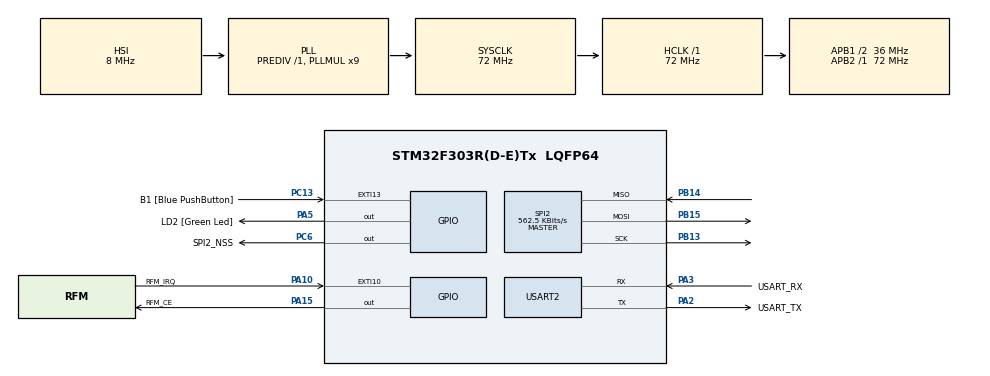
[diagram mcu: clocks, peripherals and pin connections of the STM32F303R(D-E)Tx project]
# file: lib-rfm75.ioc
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Mcu.Family=STM32F3
Mcu.Name=STM32F303R(D-E)Tx
Mcu.Package=LQFP64
NVIC.EXTI15_10_IRQn=true\:0\:0\:false\:false\:true\:true\:true\:true
NVIC.PriorityGroup=NVIC_PRIORITYGROUP_0
PA10.GPIO_Label=RFM_IRQ
PA10.GPIO_ModeDefaultEXTI=GPIO_MODE_IT_FALLING
PA10.Signal=GPXTI10
PA13.GPIO_Label=TMS
PA13.Mode=Serial_Wire
PA13.Signal=SYS_JTMS-SWDIO
PA14.GPIO_Label=TCK
PA14.Mode=Serial_Wire
PA14.Signal=SYS_JTCK-SWCLK
PA15.GPIO_Label=RFM_CE
PA15.Signal=GPIO_Output
PA2.GPIO_Label=USART_TX
PA2.GPIO_Mode=GPIO_MODE_AF_PP
PA2.GPIO_PuPd=GPIO_NOPULL
PA2.GPIO_Speed=GPIO_SPEED_FREQ_LOW
PA2.Mode=Asynchronous
PA2.Signal=USART2_TX
PA3.GPIO_Label=USART_RX
PA3.GPIO_Mode=GPIO_MODE_AF_PP
PA3.GPIO_PuPd=GPIO_NOPULL
PA3.GPIO_Speed=GPIO_SPEED_FREQ_LOW
PA3.Mode=Asynchronous
PA3.Signal=USART2_RX
PA5.GPIO_Label=LD2 [Green Led]
PA5.GPIO_Mode=GPIO_MODE_OUTPUT_PP
PA5.GPIO_PuPd=GPIO_NOPULL
PA5.GPIO_Speed=GPIO_SPEED_FREQ_LOW
PA5.Signal=GPIO_Output
PB13.Mode=Full_Duplex_Master
PB13.Signal=SPI2_SCK
PB14.Mode=Full_Duplex_Master
PB14.Signal=SPI2_MISO
PB15.Mode=Full_Duplex_Master
PB15.Signal=SPI2_MOSI
PB3.GPIO_Label=SWO
PB3.Signal=SYS_JTDO-TRACESWO
PC13.GPIO_Label=B1 [Blue PushButton]
PC13.GPIO_ModeDefaultEXTI=GPIO_MODE_IT_FALLING
PC13.Signal=GPXTI13
PC14-OSC32_IN.Mode=LSE-External-Oscillator
PC14-OSC32_IN.Signal=RCC_OSC32_IN
PC15-OSC32_OUT.Mode=LSE-External-Oscillator
PC15-OSC32_OUT.Signal=RCC_OSC32_OUT
PC6.GPIO_Label=SPI2_NSS
PC6.Signal=GPIO_Output
PF0-OSC_IN.Mode=HSE-External-Clock-Source
PF0-OSC_IN.Signal=RCC_OSC_IN
PF1-OSC_OUT.Signal=RCC_OSC_OUT
ProjectManager.HeapSize=0x200
ProjectManager.StackSize=0x400
ProjectManager.TargetToolchain=STM32CubeIDE
RCC.AHBFreq_Value=72000000
RCC.APB1CLKDivider=RCC_HCLK_DIV2
RCC.APB1Freq_Value=36000000
RCC.APB1TimFreq_Value=72000000
RCC.APB2Freq_Value=72000000
RCC.APB2TimFreq_Value=72000000
RCC.CortexFreq_Value=72000000
RCC.HCLKFreq_Value=72000000
RCC.HSE_VALUE=8000000
RCC.HSI_VALUE=8000000
RCC.PLLM=8
RCC.PLLMUL=RCC_PLL_MUL9
RCC.PLLN=336
RCC.PLLP=RCC_PLLP_DIV4
RCC.PLLQ=7
RCC.RCC_PLLsource_Clock_Source_FROM_HSE=RCC_HSE_PREDIV_DIV2
RCC.SYSCLKFreq_VALUE=72000000
RCC.SYSCLKSourceVirtual=RCC_SYSCLKSOURCE_PLLCLK
RCC.USBFreq_Value=72000000
SPI2.BaudRatePrescaler=SPI_BAUDRATEPRESCALER_64
SPI2.CalculateBaudRate=562.5 KBits/s
SPI2.DataSize=SPI_DATASIZE_8BIT
SPI2.Direction=SPI_DIRECTION_2LINES
SPI2.Mode=SPI_MODE_MASTER
SPI2.VirtualType=VM_MASTER
USART2.VirtualMode-Asynchronous=VM_ASYNC
board=NUCLEO-F303RE

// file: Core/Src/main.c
/* USER CODE BEGIN Header */
/**
  ******************************************************************************
  * @file           : main.c
  * @brief          : Main program body
  ******************************************************************************
  * @attention
  *
  * Copyright (c) 2022 STMicroelectronics.
  * All rights reserved.
  *
  * This software is licensed under terms that can be found in the LICENSE file
  * in the root directory of this software component.
  * If no LICENSE file comes with this software, it is provided AS-IS.
  *
  ******************************************************************************
  *
  *		Name:	STM32 library for GFSK transceiver - RFM75-S
  *	  Author:	crlhz
  *	  	Date: 	2023-04-08
  *
  *	  github:	https://github.com/crlhz
  *	 contact:	crlhz@proton.me
  *
  ******************************************************************************
  */
/* USER CODE END Header */
#include "main.h"
#include "spi.h"
#include "usart.h"
#include "gpio.h"

/* USER CODE BEGIN Includes */
#include "rfm75.h"
/* USER CODE END Includes */

void SystemClock_Config(void);

/* USER CODE BEGIN 0 */
void HAL_GPIO_EXTI_Callback(uint16_t GPIO_Pin){
	if(GPIO_Pin == RFM_IRQ_Pin){
		HAL_Delay(1);
	}
}
/* USER CODE END 0 */

int main(void)
{
  /* USER CODE BEGIN 1 */
	uint8_t size = 10;
	uint8_t tx[] = {0x01, 0x02, 0x03, 0x04, 0x05, 0x06, 0x07, 0x08, 0x09, 0x0A};
	uint8_t test = 0;
  /* USER CODE END 1 */

  /* MCU Configuration--------------------------------------------------------*/

  /* Reset of all peripherals, Initializes the Flash interface and the Systick. */
  HAL_Init();

  /* Configure the system clock */
  SystemClock_Config();

  /* Initialize all configured peripherals */
  MX_GPIO_Init();
  MX_USART2_UART_Init();
  MX_SPI2_Init();
  /* USER CODE BEGIN 2 */
  HAL_GPIO_WritePin(SPI2_NSS_GPIO_Port, SPI2_NSS_Pin, GPIO_PIN_SET);
  HAL_Delay(50);
  rfm_init(&hspi2);
  rfm_standby();
  HAL_Delay(100);
  rfm_tx_mode();
  rfm_flush_tx();
  rfm_transmit(tx, size);

  HAL_Delay(100);
  rfm_standby();
  test = rfm_read_register(0x17);
  /* USER CODE END 2 */

  /* Infinite loop */
  /* USER CODE BEGIN WHILE */
  while (1)
  {
	  rfm_transmit(tx, size);
	  HAL_Delay(1000);

    /* USER CODE END WHILE */

  }
}

void SystemClock_Config(void)
{
  RCC_OscInitTypeDef RCC_OscInitStruct = {0};
  RCC_ClkInitTypeDef RCC_ClkInitStruct = {0};
  RCC_PeriphCLKInitTypeDef PeriphClkInit = {0};

  /** Initializes the RCC Oscillators according to the specified parameters
  * in the RCC_OscInitTypeDef structure.
  */
  RCC_OscInitStruct.OscillatorType = RCC_OSCILLATORTYPE_HSI;
  RCC_OscInitStruct.HSIState = RCC_HSI_ON;
  RCC_OscInitStruct.HSICalibrationValue = RCC_HSICALIBRATION_DEFAULT;
  RCC_OscInitStruct.PLL.PLLState = RCC_PLL_ON;
  RCC_OscInitStruct.PLL.PLLSource = RCC_PLLSOURCE_HSI;
  RCC_OscInitStruct.PLL.PLLMUL = RCC_PLL_MUL9;
  RCC_OscInitStruct.PLL.PREDIV = RCC_PREDIV_DIV1;
  if (HAL_RCC_OscConfig(&RCC_OscInitStruct) != HAL_OK)
  {
    Error_Handler();
  }

  /** Initializes the CPU, AHB and APB buses clocks
  */
  RCC_ClkInitStruct.ClockType = RCC_CLOCKTYPE_HCLK|RCC_CLOCKTYPE_SYSCLK
                              |RCC_CLOCKTYPE_PCLK1|RCC_CLOCKTYPE_PCLK2;
  RCC_ClkInitStruct.SYSCLKSource = RCC_SYSCLKSOURCE_PLLCLK;
  RCC_ClkInitStruct.AHBCLKDivider = RCC_SYSCLK_DIV1;
  RCC_ClkInitStruct.APB1CLKDivider = RCC_HCLK_DIV2;
  RCC_ClkInitStruct.APB2CLKDivider = RCC_HCLK_DIV1;

  if (HAL_RCC_ClockConfig(&RCC_ClkInitStruct, FLASH_LATENCY_2) != HAL_OK)
  {
    Error_Handler();
  }
  PeriphClkInit.PeriphClockSelection = RCC_PERIPHCLK_USART2;
  PeriphClkInit.Usart2ClockSelection = RCC_USART2CLKSOURCE_PCLK1;
  if (HAL_RCCEx_PeriphCLKConfig(&PeriphClkInit) != HAL_OK)
  {
    Error_Handler();
  }
}

void Error_Handler(void)
{
  __disable_irq();
  while (1)
  {
  }
}
